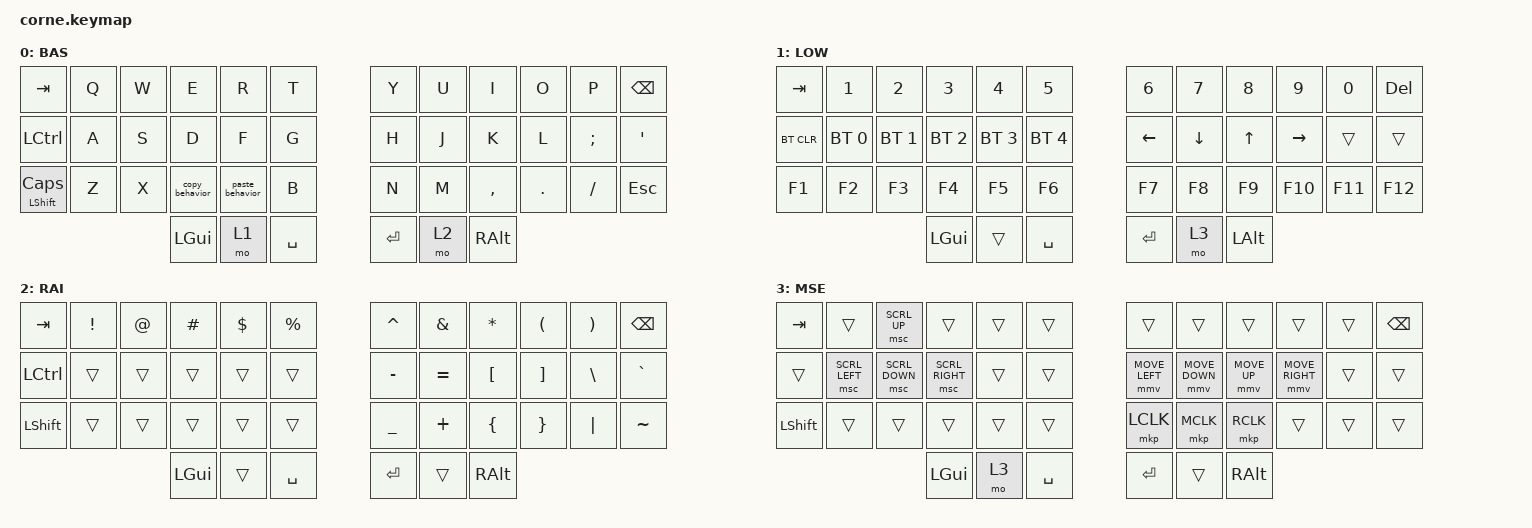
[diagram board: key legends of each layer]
/*
 * # ======================================================
 * # Filename: corne.keymap
 * # Author: Lucas Monteiro Inacio
 * # Email: lucasmonteiroi@proton.me
 * # Board: nice_nano_v2
 * # ======================================================
 * */
/*
 * Copyright (c) 2020 The ZMK Contributors
 *
 * SPDX-License-Identifier: MIT
 */

#include <dt-bindings/zmk/mouse.h>
#include <behaviors.dtsi>
#include <dt-bindings/zmk/bt.h>
#include <dt-bindings/zmk/keys.h>
#include <dt-bindings/zmk/pointing.h>

/ {
    combos {
        compatible = "zmk,combos";

        esc-combo {
            bindings = <&kp ESCAPE>;
            key-positions = <1 2>;
        };

        caps-word-combo {
            bindings = <&caps_word>;
            key-positions = <24 38>;
        };

        page-up-combo {
            bindings = <&kp PAGE_UP>;
            key-positions = <11 23>;
        };

        page-down-combo {
            bindings = <&kp PAGE_DOWN>;
            key-positions = <23 35>;
        };
    };

    behaviors {
        paste_behavior: paste_behavior {
            compatible = "zmk,behavior-tap-dance";
            label = "PASTE_BEHAVIOR";
            #binding-cells = <0>;
            bindings = <&kp V>, <&kp LC(V)>;
        };

        copy_behavior: copy_behavior {
            compatible = "zmk,behavior-tap-dance";
            label = "COPY_BEHAVIOR";
            #binding-cells = <0>;
            bindings = <&kp C>, <&kp LC(C)>;
        };
    };

    keymap {
        compatible = "zmk,keymap";

        default_layer {
            display-name = "BAS";

            // -----------------------------------------------------------------------------------------
            // |  TAB |  Q  |  W  |  E  |  R  |  T  |   |  Y  |  U   |  I  |  O  |  P  | BSPC |
            // | CTRL |  A  |  S  |  D  |  F  |  G  |   |  H  |  J   |  K  |  L  |  ;  |  '   |
            // | SHFT |  Z  |  X  |  C  |  V  |  B  |   |  N  |  M   |  ,  |  .  |  /  | ESC  |
            //                    | GUI | LWR | SPC |   | ENT | RSE  | ALT |

            bindings = <
&kp TAB             &kp Q  &kp W  &kp E     &kp R  &kp T        &kp Y    &kp U  &kp I      &kp O    &kp P     &kp BSPC
&kp LCTRL           &kp A  &kp S  &kp D     &kp F  &kp G        &kp H    &kp J  &kp K      &kp L    &kp SEMI  &kp SQT
&mt LSHFT CAPSLOCK  &kp Z  &kp X  &copy_behavior     &paste_behavior  &kp B        &kp N    &kp M  &kp COMMA  &kp DOT  &kp FSLH  &kp ESC
                                  &kp LGUI  &mo 1  &kp SPACE    &kp RET  &mo 2  &kp RALT
            >;
        };

        lower_layer {
            display-name = "LOW";

            // -----------------------------------------------------------------------------------------
            // |  TAB |  1  |  2  |  3  |  4  |  5  |   |  6  |  7  |  8  |  9  |  0  | BSPC |
            // | BTCLR| BT1 | BT2 | BT3 | BT4 | BT5 |   | LFT | DWN |  UP | RGT |     |      |
            // | SHFT |     |     |     |     |     |   |     |     |     |     |     |      |
            //                    | GUI |     | SPC |   | ENT |     | ALT |

            bindings = <
&kp TAB     &kp N1        &kp N2        &kp N3        &kp N4        &kp N5          &kp N6    &kp N7    &kp N8        &kp N9     &kp N0   &kp DEL
&bt BT_CLR  &bt BT_SEL 0  &bt BT_SEL 1  &bt BT_SEL 2  &bt BT_SEL 3  &bt BT_SEL 4    &kp LEFT  &kp DOWN  &kp UP        &kp RIGHT  &trans   &trans
&kp F1      &kp F2        &kp F3        &kp F4        &kp F5        &kp F6          &kp F7    &kp F8    &kp F9        &kp F10    &kp F11  &kp F12
                                        &kp LGUI      &trans        &kp SPACE       &kp RET   &mo 3     &kp LEFT_ALT
            >;
        };

        raise_layer {
            display-name = "RAI";

            // -----------------------------------------------------------------------------------------
            // |  TAB |  !  |  @  |  #  |  $  |  %  |   |  ^  |  &  |  *  |  (  |  )  | BSPC |
            // | CTRL |     |     |     |     |     |   |  -  |  =  |  [  |  ]  |  \  |  `   |
            // | SHFT |     |     |     |     |     |   |  _  |  +  |  {  |  }  | "|" |  ~   |
            //                    | GUI |     | SPC |   | ENT |     | ALT |

            bindings = <
&kp TAB    &kp EXCL  &kp AT  &kp HASH  &kp DLLR  &kp PRCNT    &kp CARET  &kp AMPS   &kp ASTRK  &kp LPAR  &kp RPAR  &kp BSPC
&kp LCTRL  &trans    &trans  &trans    &trans    &trans       &kp MINUS  &kp EQUAL  &kp LBKT   &kp RBKT  &kp BSLH  &kp GRAVE
&kp LSHFT  &trans    &trans  &trans    &trans    &trans       &kp UNDER  &kp PLUS   &kp LBRC   &kp RBRC  &kp PIPE  &kp TILDE
                             &kp LGUI  &trans    &kp SPACE    &kp RET    &trans     &kp RALT
            >;
        };

        mouse_layer {
            display-name = "MSE";

            // Mouse layer layout
            // ┌─────┬─────┬─────┬─────┬─────┬─────┐   ┌─────┬─────┬─────┬─────┬─────┬─────┐
            // │ TAB │     │ MWU │     │     │     │   │     │     │     │     │     │ BSPC│
            // ├─────┼─────┼─────┼─────┼─────┼─────┤   ├─────┼─────┼─────┼─────┼─────┼─────┤
            // │     │     │ MWD │     │     │     │   │ ← M │ ↓ M │ ↑ M │ → M │     │     │
            // ├─────┼─────┼─────┼─────┼─────┼─────┤   ├─────┼─────┼─────┼─────┼─────┼─────┤
            // │ SHFT│     │     │     │     │     │   │ LCLK│ MCLK│ RCLK│     │     │     │
            // └─────┴─────┴─────┼─────┼─────┼─────┤   ├─────┼─────┼─────┼─────┴─────┴─────┘
            //                   │ GUI │ MO3 │ SPC │   │ ENT │     │ ALT │
            //                   └─────┴─────┴─────┘   └─────┴─────┴─────┘

            bindings = <
&kp TAB    &trans          &msc SCRL_UP    &trans           &trans  &trans       &trans          &trans          &trans        &trans           &trans  &kp BSPC
&trans     &msc SCRL_LEFT  &msc SCRL_DOWN  &msc SCRL_RIGHT  &trans  &trans       &mmv MOVE_LEFT  &mmv MOVE_DOWN  &mmv MOVE_UP  &mmv MOVE_RIGHT  &trans  &trans
&kp LSHFT  &trans          &trans          &trans           &trans  &trans       &mkp LCLK       &mkp MCLK       &mkp RCLK     &trans           &trans  &trans
                                           &kp LGUI         &mo 3   &kp SPACE    &kp RET         &trans          &kp RALT
            >;
        };
    };
};

